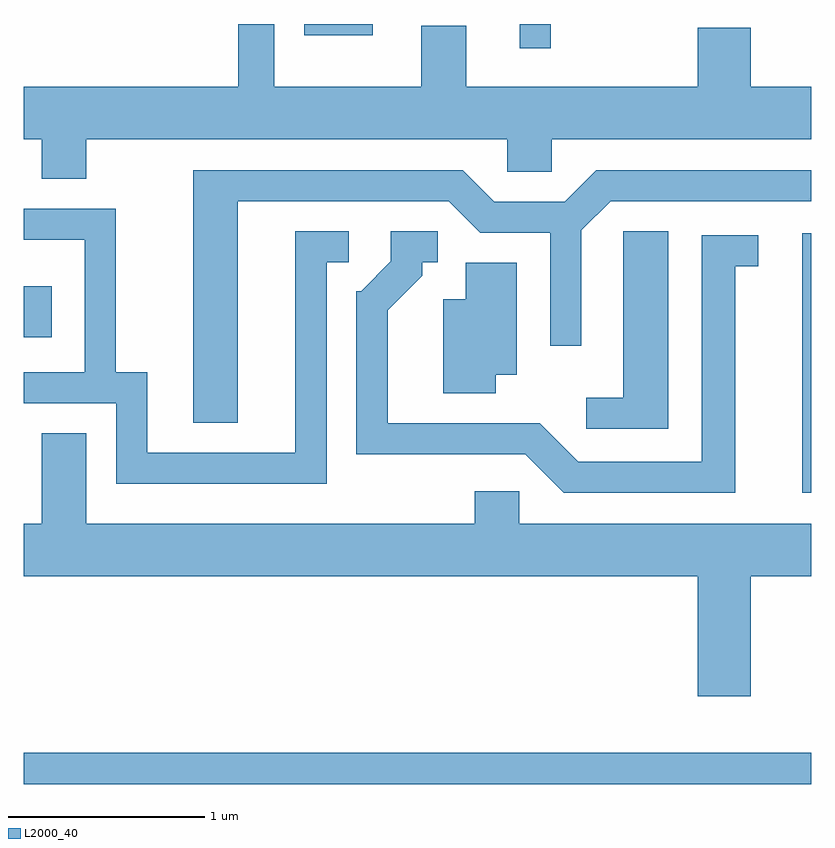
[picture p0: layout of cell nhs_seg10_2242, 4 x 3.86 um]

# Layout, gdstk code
import gdstk
lib = gdstk.Library(unit=1e-6, precision=1e-09)
def R(c, l, rs):  # rectangles x0, y0, x1, y1
    for r in rs: c.add(gdstk.rectangle(r[:2], r[2:], *l))
def P(c, l, *ps):  # polygons
    for p in ps: c.add(gdstk.Polygon(p, *l))
L2000_40 = (2000, 40)

nhs_seg10_2242 = lib.new_cell('nhs_seg10_2242')
R(nhs_seg10_2242, L2000_40, [(251.611,2090.661,255.611,2090.819), (255.566,2092.141,255.611,2093.459), (251.611,2092.931,251.754,2093.189), (254.131,2094.398,254.289,2094.522), (253.036,2094.466,253.384,2094.522)])
P(nhs_seg10_2242, L2000_40, [(251.929,2093.936),(254.066,2093.936),(254.066,2093.771),(254.294,2093.771),(254.294,2093.936),(255.611,2093.936),(255.611,2094.204),(255.304,2094.204),(255.304,2094.504),(255.036,2094.504),(255.036,2094.204),(253.859,2094.204),(253.859,2094.514),(253.631,2094.514),(253.631,2094.204),(252.884,2094.204),(252.884,2094.522),(252.701,2094.522),(252.701,2094.204),(251.611,2094.204),(251.611,2093.936),(251.701,2093.936),(251.701,2093.736),(251.929,2093.736)],
  [(252.699,2093.621),(253.769,2093.621),(253.929,2093.461),(254.286,2093.461),(254.286,2092.887),(254.444,2092.887),(254.444,2093.474),(254.592,2093.621),(255.611,2093.621),(255.611,2093.779),(254.519,2093.779),(254.359,2093.619),(254.002,2093.619),(253.842,2093.779),(252.471,2093.779),(252.471,2092.496),(252.699,2092.496)],
  [(253.149,2093.311),(253.263,2093.311),(253.263,2093.469),(252.991,2093.469),(252.991,2092.344),(252.239,2092.344),(252.239,2092.754),(252.079,2092.754),(252.079,2093.584),(251.611,2093.584),(251.611,2093.426),(251.921,2093.426),(251.921,2092.754),(251.611,2092.754),(251.611,2092.596),(252.081,2092.596),(252.081,2092.186),(253.149,2092.186)],
  [(254.884,2093.469),(254.656,2093.469),(254.656,2092.624),(254.468,2092.624),(254.468,2092.466),(254.884,2092.466)],
  [(255.224,2093.291),(255.343,2093.291),(255.343,2093.449),(255.056,2093.449),(255.056,2092.299),(254.427,2092.299),(254.232,2092.494),(253.459,2092.494),(253.459,2093.068),(253.634,2093.244),(253.634,2093.311),(253.713,2093.311),(253.713,2093.469),(253.476,2093.469),(253.476,2093.317),(253.324,2093.164),(253.301,2093.164),(253.301,2092.336),(254.159,2092.336),(254.354,2092.141),(255.224,2092.141)],
  [(254.009,2092.741),(254.114,2092.741),(254.114,2093.309),(253.856,2093.309),(253.856,2093.124),(253.741,2093.124),(253.741,2092.646),(254.009,2092.646)],
  [(255.304,2091.716),(255.611,2091.716),(255.611,2091.984),(254.129,2091.984),(254.129,2092.149),(253.901,2092.149),(253.901,2091.984),(251.929,2091.984),(251.929,2092.444),(251.701,2092.444),(251.701,2091.984),(251.611,2091.984),(251.611,2091.716),(255.036,2091.716),(255.036,2091.106),(255.304,2091.106)])

lib.write_gds('nhs_seg10_2242.gds')
